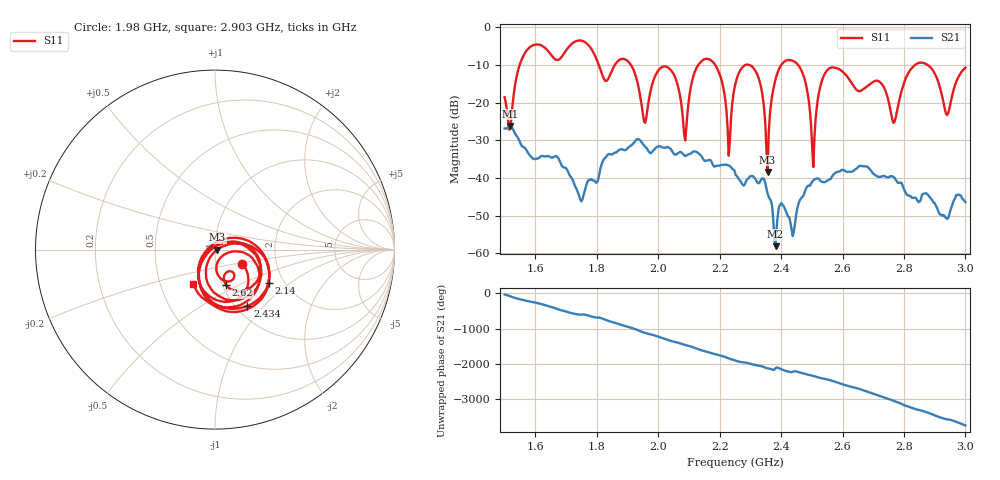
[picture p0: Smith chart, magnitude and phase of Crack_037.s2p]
# HZ S RI R 50
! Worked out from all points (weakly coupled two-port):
!   404 points, 1.5 GHz to 3 GHz, reference 50 ohm
!   highest |S21| = -26.22 dB at 1.519 GHz (marker M1); lowest = -58.1 dB at 2.382 GHz (marker M2)
!   lowest |S11| = -38.4 dB at 2.356 GHz (marker M3), VSWR 1.02, Z = 51.2 - j0.00341 ohm
!   |S11| at or under -10 dB: 1.911 GHz to 2.131 GHz (219.7 MHz wide, 10.9 % of centre); 2.455 GHz to 2.836 GHz (381.3 MHz wide, 14.4 % of centre); 2.877 GHz to end of sweep (the widest 3 of 7)
!   S12 and S22 are empty: the file has one direction only
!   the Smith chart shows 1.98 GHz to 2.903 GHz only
!   S11 on the Smith chart (normalised r, x): 1.98 GHz: 1.34, -0.22; 2.14 GHz: 1.67, -0.70; 2.434 GHz: 1.13, -0.82; 2.62 GHz: 1.04, -0.43; 2.903 GHz: 0.73, -0.30
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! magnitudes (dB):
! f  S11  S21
! 1.5 GHz  -18.6  -26.9
! 1.519 GHz  -27.0  -26.2
! 1.574 GHz  -5.9  -33.1
! 1.753 GHz  -3.6  -45.8
! 1.954 GHz  -25.1  -31.4
! 1.98 GHz  -15.2  -33.1
! 2.002 GHz  -11.3  -31.5
! 2.088 GHz  -30.0  -34.2
! 2.14 GHz  -9.1  -34.1
! 2.23 GHz  -34.1  -36.7
! 2.252 GHz  -14.8  -39.2
! 2.315 GHz  -11.4  -40.1
! 2.356 GHz  -38.4  -44.2
! 2.382 GHz  -13.8  -58.1
! 2.434 GHz  -8.8  -53.7
! 2.501 GHz  -31.8  -41.0
! 2.546 GHz  -11.9  -41.0
! 2.62 GHz  -13.7  -38.3
! 2.751 GHz  -19.9  -39.8
! 2.903 GHz  -12.8  -47.2
! 2.94 GHz  -23.3  -50.8
! 3 GHz  -10.8  -46.4
